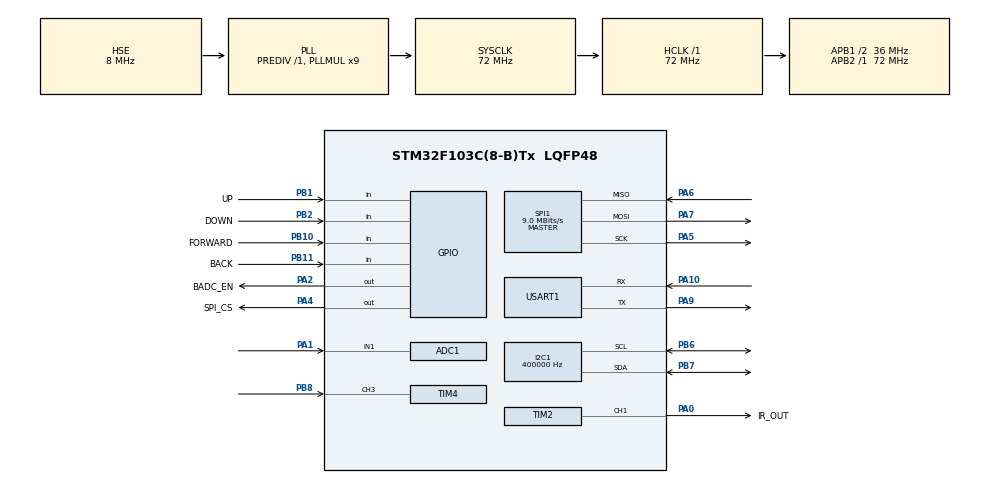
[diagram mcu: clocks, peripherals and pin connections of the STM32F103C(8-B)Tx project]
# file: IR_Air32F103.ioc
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ADC1.Channel-0\#ChannelRegularConversion=ADC_CHANNEL_1
ADC1.NbrOfConversionFlag=1
ADC1.Rank-0\#ChannelRegularConversion=1
ADC1.SamplingTime-0\#ChannelRegularConversion=ADC_SAMPLETIME_1CYCLE_5
ADC1.master=1
I2C1.ClockSpeed=400000
I2C1.I2C_Mode=I2C_Fast
Mcu.Family=STM32F1
Mcu.Name=STM32F103C(8-B)Tx
Mcu.Package=LQFP48
NVIC.PriorityGroup=NVIC_PRIORITYGROUP_4
NVIC.TIM3_IRQn=true\:0\:0\:false\:false\:true\:true\:true\:true
NVIC.TIM4_IRQn=true\:0\:0\:false\:true\:true\:1\:true\:true\:true
PA0-WKUP.GPIO_Label=IR_OUT
PA0-WKUP.GPIO_Speed=GPIO_SPEED_FREQ_HIGH
PA0-WKUP.Signal=S_TIM2_CH1_ETR
PA1.Signal=ADCx_IN1
PA10.Mode=Asynchronous
PA10.Signal=USART1_RX
PA13.Mode=Serial_Wire
PA13.Signal=SYS_JTMS-SWDIO
PA14.Mode=Serial_Wire
PA14.Signal=SYS_JTCK-SWCLK
PA2.GPIO_Label=BADC_EN
PA2.GPIO_PuPd=GPIO_PULLDOWN
PA2.Signal=GPIO_Output
PA4.GPIO_Label=SPI_CS
PA4.GPIO_PuPd=GPIO_PULLUP
PA4.GPIO_Speed=GPIO_SPEED_FREQ_MEDIUM
PA4.Signal=GPIO_Output
PA5.Mode=Full_Duplex_Master
PA5.Signal=SPI1_SCK
PA6.Mode=Full_Duplex_Master
PA6.Signal=SPI1_MISO
PA7.Mode=Full_Duplex_Master
PA7.Signal=SPI1_MOSI
PA9.Mode=Asynchronous
PA9.Signal=USART1_TX
PB1.GPIO_Label=UP
PB1.GPIO_PuPd=GPIO_PULLDOWN
PB1.Signal=GPIO_Input
PB10.GPIO_Label=FORWARD
PB10.GPIO_PuPd=GPIO_PULLDOWN
PB10.Signal=GPIO_Input
PB11.GPIO_Label=BACK
PB11.GPIO_PuPd=GPIO_PULLDOWN
PB11.Signal=GPIO_Input
PB2.GPIO_Label=DOWN
PB2.GPIO_PuPd=GPIO_PULLDOWN
PB2.Signal=GPIO_Input
PB6.Mode=I2C
PB6.Signal=I2C1_SCL
PB7.Mode=I2C
PB7.Signal=I2C1_SDA
PB8.GPIO_PuPd=GPIO_PULLUP
PB8.Signal=S_TIM4_CH3
PD0-OSC_IN.Mode=HSE-External-Oscillator
PD0-OSC_IN.Signal=RCC_OSC_IN
PD1-OSC_OUT.Mode=HSE-External-Oscillator
PD1-OSC_OUT.Signal=RCC_OSC_OUT
ProjectManager.HeapSize=0x200
ProjectManager.StackSize=0x1400
ProjectManager.TargetToolchain=MDK-ARM V5.32
RCC.ADCPresc=RCC_ADCPCLK2_DIV6
RCC.AHBFreq_Value=72000000
RCC.APB1CLKDivider=RCC_HCLK_DIV2
RCC.APB1Freq_Value=36000000
RCC.APB1TimFreq_Value=72000000
RCC.APB2Freq_Value=72000000
RCC.APB2TimFreq_Value=72000000
RCC.HCLKFreq_Value=72000000
RCC.PLLMUL=RCC_PLL_MUL9
RCC.PLLSourceVirtual=RCC_PLLSOURCE_HSE
RCC.SYSCLKFreq_VALUE=72000000
RCC.SYSCLKSource=RCC_SYSCLKSOURCE_PLLCLK
RCC.USBFreq_Value=48000000
RCC.USBPrescaler=RCC_USBCLKSOURCE_PLL_DIV1_5
SH.ADCx_IN1.0=ADC1_IN1,IN1
SH.S_TIM2_CH1_ETR.0=TIM2_CH1,PWM Generation1 CH1
SH.S_TIM4_CH3.0=TIM4_CH3,Input_Capture3_from_TI3
SPI1.BaudRatePrescaler=SPI_BAUDRATEPRESCALER_8
SPI1.CalculateBaudRate=9.0 MBits/s
SPI1.Direction=SPI_DIRECTION_2LINES
SPI1.Mode=SPI_MODE_MASTER
SPI1.VirtualType=VM_MASTER
TIM1.Prescaler=72-1
TIM2.AutoReloadPreload=TIM_AUTORELOAD_PRELOAD_ENABLE
TIM2.Channel-PWM\ Generation1\ CH1=TIM_CHANNEL_1
TIM2.Period=10-1
TIM2.Prescaler=186-1
TIM2.Pulse-PWM\ Generation1\ CH1=5-1
TIM3.Period=10
TIM3.Prescaler=7200-1
TIM4.AutoReloadPreload=TIM_AUTORELOAD_PRELOAD_DISABLE
TIM4.Channel-Input_Capture3_from_TI3=TIM_CHANNEL_3
TIM4.ICPolarity_CH3=TIM_INPUTCHANNELPOLARITY_RISING
TIM4.Prescaler=72-1
USART1.VirtualMode=VM_ASYNC
VP_FATFS_VS_Generic.Mode=User_defined
VP_TIM1_VS_ClockSourceINT.Mode=Internal
VP_TIM2_VS_ClockSourceINT.Mode=Internal
VP_TIM3_VS_ClockSourceINT.Mode=Internal
VP_TIM4_VS_ClockSourceINT.Mode=Internal
board=custom

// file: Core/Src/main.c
/* USER CODE BEGIN Header */
/**
 ******************************************************************************
 * @file           : main.c
 * @brief          : Main program body
 ******************************************************************************
 * @attention
 *
 * Copyright (c) 2023 STMicroelectronics.
 * All rights reserved.
 *
 * This software is licensed under terms that can be found in the LICENSE file
 * in the root directory of this software component.
 * If no LICENSE file comes with this software, it is provided AS-IS.
 *
 ******************************************************************************
 */
/* USER CODE END Header */
#include "main.h"
#include "adc.h"
#include "fatfs.h"
#include "i2c.h"
#include "spi.h"
#include "tim.h"
#include "usart.h"
#include "gpio.h"

/* USER CODE BEGIN Includes */
#include "IRRemote.h"
#include "u8g2.h"
#include "stdio.h"
#include "string.h"
#include "menu.h"
#include "SDdriver.h"
#include "IRSend.h"
#include <stdlib.h>
#include "ff.h" // 包含FATFS库头文件
/* USER CODE END Includes */

void SystemClock_Config(void);
static void MX_NVIC_Init(void);
/* USER CODE BEGIN PFP */

uint8_t u8x8_byte_hw_i2c(u8x8_t *u8x8, uint8_t msg, uint8_t arg_int, void *arg_ptr);
uint8_t u8g2_gpio_and_delay_stm32(U8X8_UNUSED u8x8_t *u8x8, U8X8_UNUSED uint8_t msg, U8X8_UNUSED uint8_t arg_int, U8X8_UNUSED void *arg_ptr);

u8g2_t u8g2;

volatile uint8_t KeyState[4];

void ShowStartScreen(void);
void ScanKeyboard(void);

void ResetState(void);
void ResetKeyboard(void);
// uint8_t test_sd =0;	//用于测试格式�?
uint8_t write_cnt = 0; // 写SD卡次�?

static uint8_t ArrowFlag = 0; // 用于指示选项
static uint8_t PageFlag = 0;  // 用来指示是第几页（一页4个选项）
/* USER CODE END PFP */

/* USER CODE BEGIN 0 */
ReceiveMode_t ReceiveMode;
FATFS fs;
FIL file;
uint8_t SDCardRes = 0;
UINT Bw;
/* USER CODE END 0 */

int main(void)
{

    /* MCU Configuration--------------------------------------------------------*/

    /* Reset of all peripherals, Initializes the Flash interface and the Systick. */
    HAL_Init();

    /* Configure the system clock */
    SystemClock_Config();

    /* Initialize all configured peripherals */
    MX_GPIO_Init();
    MX_TIM4_Init();
    MX_I2C1_Init();
    MX_SPI1_Init();
    MX_TIM2_Init();
    MX_ADC1_Init();
    MX_USART1_UART_Init();
    MX_TIM3_Init();
    MX_TIM1_Init();
    MX_FATFS_Init();

    /* Initialize interrupts */
    MX_NVIC_Init();
    /* USER CODE BEGIN 2 */
    myPrintf("Start\r\n");
    HAL_TIM_Base_Start_IT(&htim3);
    u8g2_Setup_ssd1306_i2c_128x64_noname_f(&u8g2, U8G2_R0, u8x8_byte_hw_i2c, u8g2_gpio_and_delay_stm32);
    u8g2_InitDisplay(&u8g2);     // send init sequence to the display, display is in sleep mode after this,
    u8g2_SetPowerSave(&u8g2, 0); // wake up display
    ShowStartScreen();
    HAL_Delay(1000);

    Get_SDCard_Capacity();
    OpenSD();
    // MenuBasic();
    //  IRInit();
    /* USER CODE END 2 */

    /* Infinite loop */
    while (1)
    {

        /* USER CODE BEGIN 3 */
        static uint32_t RunTime = 0;
        switch (MenuMode)
        {
        case MENU_BASIC:
            MenuBasic();
            MenuMode = MENU_BASIC_SELECT;
            break;

        case MENU_BASIC_SELECT:

            if (KeyState[1] == 1) // 按下�??
            {
                KeyState[1] = 0;

                u8g2_SetFont(&u8g2, u8g2_font_unifont_t_symbols);
                if (ArrowFlag >= 3)
                {
                    ArrowFlag = 0;
                    u8g2_DrawGlyph(&u8g2, 0, 25 + 12 * ArrowFlag, 9654);
                    u8g2_SetDrawColor(&u8g2, 0);
                    u8g2_DrawBox(&u8g2, 0, 12 + 12 * 3, 16, 16);
                    u8g2_SetDrawColor(&u8g2, 1);
                }
                else
                {
                    ArrowFlag++;
                    u8g2_DrawGlyph(&u8g2, 0, 25 + 12 * ArrowFlag, 9654);
                    u8g2_SetDrawColor(&u8g2, 0);
                    u8g2_DrawBox(&u8g2, 0, 12 + 12 * (ArrowFlag - 1), 16, 16);
                    u8g2_SetDrawColor(&u8g2, 1);
                }
                myPrintf("ArrowFlag = %d\r\n", ArrowFlag);
            }
            else if (KeyState[0] == 1) // 按上�??
            {
                KeyState[0] = 0;

                u8g2_SetFont(&u8g2, u8g2_font_unifont_t_symbols);
                if (ArrowFlag <= 0)
                {
                    // ArrowFlag = 3;
                    ArrowFlag = 0;
                    u8g2_DrawGlyph(&u8g2, 0, 25 + 12 * ArrowFlag, 9654);
                    u8g2_SetDrawColor(&u8g2, 0);
                    u8g2_DrawBox(&u8g2, 0, 12, 16, 16);
                    u8g2_SetDrawColor(&u8g2, 1);
                }
                else
                {
                    ArrowFlag--;
                    u8g2_DrawGlyph(&u8g2, 0, 25 + 12 * ArrowFlag, 9654);
                    u8g2_SetDrawColor(&u8g2, 0);
                    u8g2_DrawBox(&u8g2, 0, 12 + 12 * (ArrowFlag + 1), 16, 16);
                    u8g2_SetDrawColor(&u8g2, 1);
                }
                myPrintf("ArrowFlag = %d\r\n", ArrowFlag);
            }
            else if (KeyState[2] == 1) // 确认
            {
                KeyState[2] = 0;
                switch (ArrowFlag)
                {
                case 0:

                    ArrowFlag = 0;
                    RunTime = HAL_GetTick();
                    MenuNECLearn();
                    ResetState();
                    MenuMode = MENU_NEC_LEARN;
                    break;
                case 1:

                    IRState = IR_STATE_UNIVERSAL_RECEIVE;
                    ArrowFlag = 0;
                    RunTime = HAL_GetTick();
                    MenuUniversalLearn();
                    ResetState();
                    MenuMode = MENU_UNIVERSAL_LEARN;
                    break;
                case 2:

                    ArrowFlag = 0;
                    MenuSend();
                    ResetState();
                    MenuMode = MENU_SEND;
                    break;
                case 3:

                    ArrowFlag = 0;
                    MenuRecordView();
                    ResetState();
                    MenuMode = MENU_Record_View;
                    break;
                default:
                    break;
                }
            }

            u8g2_SendBuffer(&u8g2);

            break;

        case MENU_NEC_LEARN:
            IRInit();
            while (IRState != IR_STATE_FINISH)
            {
                HAL_Delay(10);
                if (KeyState[3] == 1) // 取消
                {
                    KeyState[3] = 0;
                    IRDeInit();
                    ResetState();
                    goto MENU_NEC_LEARN_END;
                }
                if (HAL_GetTick() - RunTime > 5 * 1000) // 5s学习时间，超时退出
                {
                    myPrintf("Time out, tick is %d, runtime is %d\r\n", HAL_GetTick(), RunTime);
                    IRDeInit();
                    ResetState();
                    goto MENU_NEC_LEARN_END;
                }
            }
            IRState = IR_STATE_IDLE;
            u8g2_SetFont(&u8g2, u8g2_font_wqy12_t_chinese3);
            u8g2_DrawUTF8(&u8g2, (128 - 6 * 4) / 2, 32, "PASS");
            char temp[32];
            sprintf(temp, "0x%02X 0x%02X 0x%02X 0x%02X", NECRemoteData[0], NECRemoteData[1], NECRemoteData[2], NECRemoteData[3]);
            u8g2_DrawUTF8(&u8g2, (128 - 6 * 20), 48, temp);
            u8g2_SendBuffer(&u8g2);

            while (KeyState[2] != 1 && KeyState[3] != 1)
            {
                ;
            }
            myPrintf("Key is pressed\r\n");
            if (KeyState[2] == 1) // 确认
            {
                KeyState[2] = 0;
                MenuMode = MENU_SAVE_NEC;
                ArrowFlag = 0;
                MenuSaveNEC(0);
            }
            else if (KeyState[3] == 1) // 取消
            {
                KeyState[3] = 0;
                MenuMode = MENU_BASIC;
                ArrowFlag = 0;
            }
        MENU_NEC_LEARN_END:
            break;

        case MENU_UNIVERSAL_LEARN:
            IRState = IR_STATE_UNIVERSAL_IDLE;
            IRInit();

            while (IRState != IR_STATE_FINISH)
            {
                HAL_Delay(10);
                if (KeyState[3] == 1) // 取消
                {
                    KeyState[3] = 0;
                    IRDeInit();
                    ResetState();
                    goto MENU_NEC_LEARN_END;
                }
                if (HAL_GetTick() - RunTime > 5 * 1000) // 5s学习时间，超时退出
                {
                    IRDeInit();
                    ResetState();
                    goto MENU_UNIVERSAL_LEARN_END;
                }
            }
            IRState = IR_STATE_IDLE;
            u8g2_SetFont(&u8g2, u8g2_font_wqy12_t_chinese3);
            u8g2_DrawUTF8(&u8g2, (128 - 6 * 4) / 2, 32, "PASS");
            u8g2_SendBuffer(&u8g2);

            while (KeyState[2] != 1 && KeyState[3] != 1)
            {
                ;
            }
            myPrintf("Key is pressed\r\n");
            if (KeyState[2] == 1) // 确认
            {
                KeyState[2] = 0;
                ArrowFlag = 0;
                MenuMode = MENU_SAVE_UNIVERSAL;
                ArrowFlag = 0;
                MenuSaveNEC(0);
            }
            else if (KeyState[3] == 1) // 取消
            {
                KeyState[3] = 0;
                ArrowFlag = 0;
                MenuMode = MENU_BASIC;
                ArrowFlag = 0;
            }
        MENU_UNIVERSAL_LEARN_END:
            break;

        case MENU_SAVE_NEC:
            // if (KeyState[1] == 1) // 按下�??
            // {
            //     KeyState[1] = 0;

            //     u8g2_SetFont(&u8g2, u8g2_font_unifont_t_symbols);
            //     if (ArrowFlag >= 3)
            //     {
            //         PageFlag++;
            //         ArrowFlag = 0;
            //         u8g2_DrawGlyph(&u8g2, 0, 25 + 12 * ArrowFlag, 9654);
            //         u8g2_SetDrawColor(&u8g2, 0);
            //         u8g2_DrawBox(&u8g2, 0, 12 + 12 * 3, 16, 16);
            //         u8g2_SetDrawColor(&u8g2, 1);
            //         MenuSaveNEC(PageFlag);
            //     }
            //     else
            //     {
            //         ArrowFlag++;
            //         u8g2_DrawGlyph(&u8g2, 0, 25 + 12 * ArrowFlag, 9654);
            //         u8g2_SetDrawColor(&u8g2, 0);
            //         u8g2_DrawBox(&u8g2, 0, 12 + 12 * (ArrowFlag - 1), 16, 16);
            //         u8g2_SetDrawColor(&u8g2, 1);
            //     }
            //     myPrintf("ArrowFlag = %d\r\n", ArrowFlag);
            // }
            // else if (KeyState[0] == 1) // 按上�??
            // {
            //     KeyState[0] = 0;

            //     u8g2_SetFont(&u8g2, u8g2_font_unifont_t_symbols);
            //     if (ArrowFlag <= 0)
            //     {
            //         ArrowFlag = 3;
            //         if (PageFlag > 0)
            //         {
            //             PageFlag--;
            //         }
            //         u8g2_DrawGlyph(&u8g2, 0, 25 + 12 * ArrowFlag, 9654);
            //         u8g2_SetDrawColor(&u8g2, 0);
            //         u8g2_DrawBox(&u8g2, 0, 12, 16, 16);
            //         u8g2_SetDrawColor(&u8g2, 1);
            //         MenuSaveNEC(PageFlag);
            //     }
            //     else
            //     {
            //         ArrowFlag--;
            //         u8g2_DrawGlyph(&u8g2, 0, 25 + 12 * ArrowFlag, 9654);
            //         u8g2_SetDrawColor(&u8g2, 0);
            //         u8g2_DrawBox(&u8g2, 0, 12 + 12 * (ArrowFlag + 1), 16, 16);
            //         u8g2_SetDrawColor(&u8g2, 1);
            //     }
            //     myPrintf("ArrowFlag = %d\r\n", ArrowFlag);
            // }
            // else if (KeyState[2] == 1) // 确认
            // {
            //     KeyState[2] = 0;
            //     FIL file;
            //     int res;
            //     u8g2_ClearDisplay(&u8g2);
            //     u8g2_SetFont(&u8g2, IR_Air32_font_12);
            //     u8g2_DrawUTF8(&u8g2, (128 - 12 * 8) / 2, 12, "正在保存中......");
            //     u8g2_DrawUTF8(&u8g2, (128 - 12 * 5) / 2, 25, "请耐心等待");
            //     u8g2_SendBuffer(&u8g2);

            //     while (1)
            //     {

            //         char fileNameTemp[6];
            //         genRandomString(fileNameTemp, 6);
            //         char fileName[32];
            //         sprintf(fileName, "%s.IR", fileNameTemp); // 文件名
            //         myPrintf("Save file name is %s\r\n", fileName);
            //         res = f_open(&file, fileName, FA_READ);
            //         if (res == FR_OK)
            //         {
            //             f_close(&file); // 如果文件已存在，则重新生成文件名
            //             continue;
            //         }

            //         res = f_open(&file, fileName, FA_WRITE | FA_CREATE_ALWAYS);
            //         if (res != FR_OK)
            //         {
            //             myPrintf("f_open error\r\n");
            //             break;
            //         }
            //         break;
            //     }
            //     char temp[32];
            //     sprintf(temp, "NEC\r\n0x%02X 0x%02X 0x%02X 0x%02X\r\n", NECRemoteData[0], NECRemoteData[1], NECRemoteData[2], NECRemoteData[3]);
            //     res = f_write(&file, temp, strlen(temp), &Bw);
            //     if (res != FR_OK)
            //     {
            //         myPrintf("f_write error\r\n");
            //     }
            //     f_close(&file);

            //     u8g2_ClearDisplay(&u8g2);
            //     u8g2_SetFont(&u8g2, IR_Air32_font_12);
            //     u8g2_DrawUTF8(&u8g2, (128 - 12 * 4) / 2, 12, "保存成功");
            //     u8g2_SendBuffer(&u8g2);
            //     HAL_Delay(1000);
            //     ResetState();
            //     MenuMode = MENU_NEC_LEARN;
            //     MenuNECLearn();
            //     RunTime = HAL_GetTick();
            // }
            // else if (KeyState[3] == 1) // 取消
            // {
            //     // KeyState[3] = 0;
            //     // MenuMode = MENU_BASIC;
            //     // ArrowFlag = 0;
            //     // PageFlag = 0;
            //     ResetState();
            // }
            {
                FIL file;
                int res;
                u8g2_ClearDisplay(&u8g2);
                u8g2_SetFont(&u8g2, IR_Air32_font_12);
                u8g2_DrawUTF8(&u8g2, (128 - 12 * 8) / 2, 12, "正在保存中......");
                u8g2_DrawUTF8(&u8g2, (128 - 12 * 5) / 2, 25, "请耐心等待");
                u8g2_SendBuffer(&u8g2);

                while (1)
                {

                    char fileNameTemp[6];
                    genRandomString(fileNameTemp, 6);
                    char fileName[32];
                    sprintf(fileName, "%s.IR", fileNameTemp); // 文件名
                    myPrintf("Save file name is %s\r\n", fileName);
                    res = f_open(&file, fileName, FA_READ);
                    if (res == FR_OK)
                    {
                        f_close(&file); // 如果文件已存在，则重新生成文件名
                        continue;
                    }

                    u8g2_SetFont(&u8g2, u8g2_font_wqy12_t_chinese3);
                    char temp[32];
                    // sprintf(temp, "%s", fileName);
                    u8g2_DrawUTF8(&u8g2, (128 - 6 * 8) / 2, 36, fileName);
                    u8g2_SendBuffer(&u8g2);
                    HAL_Delay(500);

                    res = f_open(&file, fileName, FA_WRITE | FA_CREATE_ALWAYS);
                    if (res != FR_OK)
                    {
                        myPrintf("f_open error\r\n");
                        break;
                    }
                    break;
                }
                // char temp[32];
                sprintf(temp, "NEC\r\n0x%02X 0x%02X 0x%02X 0x%02X\r\n", NECRemoteData[0], NECRemoteData[1], NECRemoteData[2], NECRemoteData[3]);
                res = f_write(&file, temp, strlen(temp), &Bw);
                if (res != FR_OK)
                {
                    myPrintf("f_write error\r\n");
                }
                f_close(&file);

                u8g2_ClearDisplay(&u8g2);
                u8g2_SetFont(&u8g2, IR_Air32_font_12);
                u8g2_DrawUTF8(&u8g2, (128 - 12 * 4) / 2, 12, "保存成功");
                u8g2_SendBuffer(&u8g2);
                HAL_Delay(1000);
                ResetState();
                MenuMode = MENU_NEC_LEARN;
                MenuNECLearn();
                RunTime = HAL_GetTick();

                u8g2_SendBuffer(&u8g2);
            }
            break;

        case MENU_SAVE_UNIVERSAL:
            // if (KeyState[1] == 1) // 按下�??
            // {
            //     KeyState[1] = 0;

            //     u8g2_SetFont(&u8g2, u8g2_font_unifont_t_symbols);
            //     if (ArrowFlag >= 3)
            //     {
            //         PageFlag++;
            //         ArrowFlag = 0;
            //         u8g2_DrawGlyph(&u8g2, 0, 25 + 12 * ArrowFlag, 9654);
            //         u8g2_SetDrawColor(&u8g2, 0);
            //         u8g2_DrawBox(&u8g2, 0, 12 + 12 * 3, 16, 16);
            //         u8g2_SetDrawColor(&u8g2, 1);
            //         MenuSaveNEC(PageFlag);
            //     }
            //     else
            //     {
            //         ArrowFlag++;
            //         u8g2_DrawGlyph(&u8g2, 0, 25 + 12 * ArrowFlag, 9654);
            //         u8g2_SetDrawColor(&u8g2, 0);
            //         u8g2_DrawBox(&u8g2, 0, 12 + 12 * (ArrowFlag - 1), 16, 16);
            //         u8g2_SetDrawColor(&u8g2, 1);
            //     }
            //     myPrintf("ArrowFlag = %d\r\n", ArrowFlag);
            // }
            // else if (KeyState[0] == 1) // 按上�??
            // {
            //     KeyState[0] = 0;

            //     u8g2_SetFont(&u8g2, u8g2_font_unifont_t_symbols);
            //     if (ArrowFlag <= 0)
            //     {
            //         ArrowFlag = 3;
            //         if (PageFlag > 0)
            //         {
            //             PageFlag--;
            //         }
            //         u8g2_DrawGlyph(&u8g2, 0, 25 + 12 * ArrowFlag, 9654);
            //         u8g2_SetDrawColor(&u8g2, 0);
            //         u8g2_DrawBox(&u8g2, 0, 12, 16, 16);
            //         u8g2_SetDrawColor(&u8g2, 1);
            //         MenuSaveNEC(PageFlag);
            //     }
            //     else
            //     {
            //         ArrowFlag--;
            //         u8g2_DrawGlyph(&u8g2, 0, 25 + 12 * ArrowFlag, 9654);
            //         u8g2_SetDrawColor(&u8g2, 0);
            //         u8g2_DrawBox(&u8g2, 0, 12 + 12 * (ArrowFlag + 1), 16, 16);
            //         u8g2_SetDrawColor(&u8g2, 1);
            //     }
            //     myPrintf("ArrowFlag = %d\r\n", ArrowFlag);
            // }
            // else if (KeyState[2] == 1) // 确认
            // {
            //     KeyState[2] = 0;
            //     FIL file;
            //     int res;
            //     u8g2_ClearDisplay(&u8g2);
            //     u8g2_SetFont(&u8g2, IR_Air32_font_12);
            //     u8g2_DrawUTF8(&u8g2, (128 - 12 * 8) / 2, 12, "正在保存中......");
            //     u8g2_DrawUTF8(&u8g2, (128 - 12 * 5) / 2, 25, "请耐心等待");
            //     u8g2_SendBuffer(&u8g2);

            //     while (1)
            //     {
            //         char fileNameTemp[6];
            //         genRandomString(fileNameTemp, 6);
            //         char fileName[32];
            //         sprintf(fileName, "%s.IR", fileNameTemp); // 文件名
            //         myPrintf("Save file name is %s\r\n", fileName);
            //         res = f_open(&file, fileName, FA_READ);
            //         if (res == FR_OK)
            //         {
            //             f_close(&file); // 如果文件已存在，则重新生成文件名
            //             continue;
            //         }

            //         res = f_open(&file, fileName, FA_WRITE | FA_CREATE_ALWAYS);
            //         if (res != FR_OK)
            //         {
            //             myPrintf("f_open error\r\n");
            //             break;
            //         }
            //         break;
            //     }

            //     char temp[32];
            //     sprintf(temp, "UNIVERSAL\r\n");
            //     res = f_write(&file, temp, strlen(temp), &Bw);
            //     if (res != FR_OK)
            //     {
            //         myPrintf("f_write error\r\n");
            //     }
            //     myPrintf("IRRemoteData.size = %d\r\n", IRRemoteData.size);
            //     sprintf(temp, "%d ", IRRemoteData.size);
            //     res = f_write(&file, temp, strlen(temp), &Bw);
            //     if (res != FR_OK)
            //     {
            //         myPrintf("f_write error\r\n");
            //     }
            //     for (size_t i = 0; i < IRRemoteData.size; i++)
            //     {
            //         sprintf(temp, "%d ", IRRemoteData.data[i]);
            //         res = f_write(&file, temp, strlen(temp), &Bw);
            //         if (res != FR_OK)
            //         {
            //             myPrintf("f_write error\r\n");
            //         }
            //     }
            //     f_close(&file);

            //     u8g2_ClearDisplay(&u8g2);
            //     u8g2_SetFont(&u8g2, IR_Air32_font_12);
            //     u8g2_DrawUTF8(&u8g2, (128 - 12 * 4) / 2, 12, "保存成功");
            //     u8g2_SendBuffer(&u8g2);
            //     HAL_Delay(1000);
            //     ResetState();
            //     MenuMode = MENU_UNIVERSAL_LEARN;
            //     MenuUniversalLearn();
            //     RunTime = HAL_GetTick();
            // }
            // else if (KeyState[3] == 1) // 取消
            // {
            //     // KeyState[3] = 0;
            //     // MenuMode = MENU_BASIC;
            //     // ArrowFlag = 0;
            //     // PageFlag = 0;
            //     ResetState();
            // }

            // u8g2_SendBuffer(&u8g2);
            {
                FIL file;
                int res;
                u8g2_ClearDisplay(&u8g2);
                u8g2_SetFont(&u8g2, IR_Air32_font_12);
                u8g2_DrawUTF8(&u8g2, (128 - 12 * 8) / 2, 12, "正在保存中......");
                u8g2_DrawUTF8(&u8g2, (128 - 12 * 5) / 2, 25, "请耐心等待");
                u8g2_SendBuffer(&u8g2);

                while (1)
                {

                    char fileNameTemp[6];
                    genRandomString(fileNameTemp, 6);
                    char fileName[32];
                    sprintf(fileName, "%s.IR", fileNameTemp); // 文件名
                    myPrintf("Save file name is %s\r\n", fileName);
                    res = f_open(&file, fileName, FA_READ);
                    if (res == FR_OK)
                    {
                        f_close(&file); // 如果文件已存在，则重新生成文件名
                        continue;
                    }

                    u8g2_SetFont(&u8g2, u8g2_font_wqy12_t_chinese3);
                    char temp[32];
                    // sprintf(temp, "%s", fileName);
                    u8g2_DrawUTF8(&u8g2, (128 - 6 * 8) / 2, 36, fileName);
                    u8g2_SendBuffer(&u8g2);
                    HAL_Delay(500);

                    res = f_open(&file, fileName, FA_WRITE | FA_CREATE_ALWAYS);
                    if (res != FR_OK)
                    {
                        myPrintf("f_open error\r\n");
                        break;
                    }
                    break;
                }
                // char temp[32];
                sprintf(temp, "UNIVERSAL\r\n");
                res = f_write(&file, temp, strlen(temp), &Bw);
                if (res != FR_OK)
                {
                    myPrintf("f_write error\r\n");
                }
                myPrintf("IRRemoteData.size = %d\r\n", IRRemoteData.size);
                sprintf(temp, "%d ", IRRemoteData.size);
                res = f_write(&file, temp, strlen(temp), &Bw);
                if (res != FR_OK)
                {
                    myPrintf("f_write error\r\n");
                }
                for (size_t i = 0; i < IRRemoteData.size; i++)
                {
                    sprintf(temp, "%d ", IRRemoteData.data[i]);
                    res = f_write(&file, temp, strlen(temp), &Bw);
                    if (res != FR_OK)
                    {
                        myPrintf("f_write error\r\n");
                    }
                }
                f_close(&file);

                u8g2_ClearDisplay(&u8g2);
                u8g2_SetFont(&u8g2, IR_Air32_font_12);
                u8g2_DrawUTF8(&u8g2, (128 - 12 * 4) / 2, 12, "保存成功");
                u8g2_SendBuffer(&u8g2);
                HAL_Delay(1000);
                ResetState();
                MenuMode = MENU_UNIVERSAL_LEARN;
                MenuUniversalLearn();
                RunTime = HAL_GetTick();
            }
            break;

        case MENU_SEND:
            if (KeyState[1] == 1) // 按下�??
            {
                KeyState[1] = 0;

                u8g2_SetFont(&u8g2, u8g2_font_unifont_t_symbols);
                if (ArrowFlag >= 1)
                {
                    ArrowFlag = 0;
                    u8g2_DrawGlyph(&u8g2, 0, 25 + 12 * ArrowFlag, 9654);
                    u8g2_SetDrawColor(&u8g2, 0);
                    u8g2_DrawBox(&u8g2, 0, 12 + 12 * 3, 16, 16);
                    u8g2_SetDrawColor(&u8g2, 1);
                }
                else
                {
                    ArrowFlag++;
                    u8g2_DrawGlyph(&u8g2, 0, 25 + 12 * ArrowFlag, 9654);
                    u8g2_SetDrawColor(&u8g2, 0);
                    u8g2_DrawBox(&u8g2, 0, 12 + 12 * (ArrowFlag - 1), 16, 16);
                    u8g2_SetDrawColor(&u8g2, 1);
                }
                myPrintf("ArrowFlag = %d\r\n", ArrowFlag);
            }
            else if (KeyState[0] == 1) // 按上�??
            {
                KeyState[0] = 0;

                u8g2_SetFont(&u8g2, u8g2_font_unifont_t_symbols);
                if (ArrowFlag <= 0)
                {
                    // ArrowFlag = 3;
                    ArrowFlag = 0;
                    u8g2_DrawGlyph(&u8g2, 0, 25 + 12 * ArrowFlag, 9654);
                    u8g2_SetDrawColor(&u8g2, 0);
                    u8g2_DrawBox(&u8g2, 0, 12, 16, 16);
                    u8g2_SetDrawColor(&u8g2, 1);
                }
                else
                {
                    ArrowFlag--;
                    u8g2_DrawGlyph(&u8g2, 0, 25 + 12 * ArrowFlag, 9654);
                    u8g2_SetDrawColor(&u8g2, 0);
                    u8g2_DrawBox(&u8g2, 0, 12 + 12 * (ArrowFlag + 1), 16, 16);
                    u8g2_SetDrawColor(&u8g2, 1);
                }
                myPrintf("ArrowFlag = %d\r\n", ArrowFlag);
            }
            else if (KeyState[2] == 1) // 确认
            {
                if (ArrowFlag == 0)
                {
                    ResetState();
                    MenuMode = MENU_SEND_SINGULAR;
                    MenuSendSingular(0);
                }
                else if (ArrowFlag == 1)
                {
                    ResetState();
                    MenuMode = MENU_SEND_PLURAL;
                    MenuSendPlural(0);
                }
            }
            else if (KeyState[3] == 1) // 取消
            {
                // KeyState[3] = 0;
                // MenuMode = MENU_BASIC;
                // ArrowFlag = 0;
                ResetState();
            }

            u8g2_SendBuffer(&u8g2);
            break;

        case MENU_SEND_SINGULAR:
            if (KeyState[1] == 1) // 按下�??
            {
                KeyState[1] = 0;

                u8g2_SetFont(&u8g2, u8g2_font_unifont_t_symbols);
                if (ArrowFlag >= 3)
                {
                    PageFlag++;
                    ArrowFlag = 0;
                    u8g2_DrawGlyph(&u8g2, 0, 25 + 12 * ArrowFlag, 9654);
                    u8g2_SetDrawColor(&u8g2, 0);
                    u8g2_DrawBox(&u8g2, 0, 12 + 12 * 3, 16, 16);
                    u8g2_SetDrawColor(&u8g2, 1);
                    MenuSendSingular(PageFlag);
                }
                else
                {
                    ArrowFlag++;
                    u8g2_DrawGlyph(&u8g2, 0, 25 + 12 * ArrowFlag, 9654);
                    u8g2_SetDrawColor(&u8g2, 0);
                    u8g2_DrawBox(&u8g2, 0, 12 + 12 * (ArrowFlag - 1), 16, 16);
                    u8g2_SetDrawColor(&u8g2, 1);
                }
                myPrintf("ArrowFlag = %d\r\n", ArrowFlag);
            }
            else if (KeyState[0] == 1) // 按上�??
            {
                KeyState[0] = 0;

                u8g2_SetFont(&u8g2, u8g2_font_unifont_t_symbols);
                if (ArrowFlag <= 0)
                {
                    // ArrowFlag = 3;
                    ArrowFlag = 0;
                    if (PageFlag > 0)
                    {
                        PageFlag--;
                    }
                    u8g2_DrawGlyph(&u8g2, 0, 25 + 12 * ArrowFlag, 9654);
                    u8g2_SetDrawColor(&u8g2, 0);
                    u8g2_DrawBox(&u8g2, 0, 12, 16, 16);
                    u8g2_SetDrawColor(&u8g2, 1);
                    MenuSendSingular(PageFlag);
                }
                else
                {
                    ArrowFlag--;
                    u8g2_DrawGlyph(&u8g2, 0, 25 + 12 * ArrowFlag, 9654);
                    u8g2_SetDrawColor(&u8g2, 0);
                    u8g2_DrawBox(&u8g2, 0, 12 + 12 * (ArrowFlag + 1), 16, 16);
                    u8g2_SetDrawColor(&u8g2, 1);
                }
                myPrintf("ArrowFlag = %d\r\n", ArrowFlag);
            }
            else if (KeyState[2] == 1) // 确认
            {
                KeyState[2] = 0;
                FIL file;
                int res;

                char filename[32];
                sprintf(filename, "%s", SD_FileName.data[PageFlag * 4 + ArrowFlag]);
                // sprintf(filename, "%d.IR", PageFlag * 4 + ArrowFlag);

                myPrintf("filename = %s\r\n", filename);
                res = f_open(&file, filename, FA_READ);
                if (res != FR_OK)
                {
                    myPrintf("f_open error\r\n");
                    if (res == FR_NO_FILE) // 文件不存在
                    {
                        myPrintf("No File.\r\n");
                        u8g2_ClearDisplay(&u8g2);
                        u8g2_SetFont(&u8g2, IR_Air32_font_12);
                        u8g2_DrawUTF8(&u8g2, (128 - 6 * 14) / 2, 12, "该数据未保存");
                        u8g2_SendBuffer(&u8g2);
                        HAL_Delay(1000);
                        ResetState();
                        MenuSend();
                        MenuMode = MENU_SEND;
                        break;
                    }
                    break;
                }
                char temp[2048];

                res = f_read(&file, temp, sizeof(temp), &Bw);
                if (res != FR_OK)
                {
                    myPrintf("f_write error\r\n");
                }
                if (strncmp(temp, "NEC", 3) == 0)
                {
                    myPrintf("NEC mode\r\n");
                    uint8_t NECCode[4];
                    sscanf(temp, "NEC%*c%*c0x%hhx 0x%hhx 0x%hhx 0x%hhx", &NECCode[0], &NECCode[1], &NECCode[2], &NECCode[3]);
                    myPrintf("NEC: 0x%hhx 0x%hhx 0x%hhx 0x%hhx\r\n", NECCode[0], NECCode[1], NECCode[2], NECCode[3]);
                    SendNEC(NECCode);
                }
                else if (strncmp(temp, "UNIVERSAL", 10) == 0)
                {
                    myPrintf("UNIVERSAL mode\r\n");
                    // 定义一个整数指针，用来指向动态分配的数组
                    uint16_t *a;
                    // 定义一个指针，用来指向分割后的字符串
                    char *token;
                    // 使用strtok函数以空格和换行符为分隔符，分割字符串
                    token = strtok(temp, " \r\n");

                    // 跳过第一个分割后的字符串"UNIVERSAL"
                    token = strtok(NULL, " \r\n");
                    // 跳过第二个分割后的字符串"Size"
                    token = strtok(NULL, " \r\n");
                    // 获取第三个分割后的字符串，即Size的值，并转换为整数
                    int size = atoi(token);
                    // 根据Size的值，动态分配数组的内存空间
                    a = malloc(size * sizeof(uint16_t));
                    // 定义一个变量，用来记录数组的索引
                    int i = 0;
                    // 循环读取剩余的分割后的字符串，并转换为整数，存储在数组中
                    while (token != NULL && i < size)
                    {
                        // 使用sscanf函数或atoi函数将字符串转换为整数
                        // sscanf(token, "%d", &a[i]);
                        a[i] = atoi(token);
                        // 增加数组的索引
                        i++;
                        // 获取下一个分割后的字符串
                        token = strtok(NULL, " \r\n");
                    }
                    // 打印数组中的元素
                    for (int j = 0; j < i; j++)
                    {
                        myPrintf("%d ", a[j]);
                    }
                    SendUniversal(a, size);
                    // 释放数组占用的内存空间
                    free(a);
                }
                else
                {
                    myPrintf("error\r\n");
                }

                f_close(&file);

                u8g2_ClearDisplay(&u8g2);
                u8g2_SetFont(&u8g2, IR_Air32_font_12);
                u8g2_DrawUTF8(&u8g2, (128 - 12 * 4) / 2, 12, "发送成功");
                u8g2_SendBuffer(&u8g2);
                HAL_Delay(500);
                MenuSendSingular(0);
                ResetState();
                MenuMode = MENU_SEND_SINGULAR;
            }
            else if (KeyState[3] == 1) // 取消
            {
                // KeyState[3] = 0;
                // MenuMode = MENU_BASIC;
                // ArrowFlag = 0;
                // PageFlag = 0;
                ResetState();
                MenuSend();
                MenuMode = MENU_SEND;
            }

            u8g2_SendBuffer(&u8g2);
            break;

        case MENU_SEND_PLURAL:
        {                     // 加括号让编译器开心
            DIR dir;          // 目录对象
            FILINFO fileinfo; // 文件信息对象
            int res;
            res = f_opendir(&dir, "/"); // 打开目录
            if (res != FR_OK)
            {
                myPrintf("f_opendir error\r\n");
                break;
            }

            while (1)
            {
                if (KeyState[3] == 1) // 取消
                {
                    // KeyState[3] = 0;
                    // MenuMode = MENU_BASIC;
                    // ArrowFlag = 0;
                    // PageFlag = 0;
                    ResetState();
                    MenuMode = MENU_SEND;
                    break;
                }
                res = f_readdir(&dir, &fileinfo); // 读取目录项
                if (res != FR_OK || fileinfo.fname[0] == 0)
                {
                    myPrintf("All file data has been sent\r\n");
                    HAL_Delay(500);
                    f_closedir(&dir);           // 关闭目录
                    res = f_opendir(&dir, "/"); // 打开目录
                    if (res != FR_OK)
                    {
                        myPrintf("f_opendir error\r\n");
                        break;
                    }
                    // break; // 结束循环
                }
                if (fileinfo.fattrib & AM_DIR)
                { // 如果是子目录忽略不处理
                  // list_files(fileinfo.fname);
                }
                else
                {
                    myPrintf("%s\n", fileinfo.fname); // 如果是文件，则输出文件名

                    FIL file;
                    res = f_open(&file, fileinfo.fname, FA_READ);
                    if (res != FR_OK)
                    {
                        myPrintf("f_open error\r\n");
                        if (res == FR_NO_FILE) // 文件不存在
                        {
                            myPrintf("No File.\r\n");

                            ResetState();
                            MenuMode = MENU_SEND;
                        }
                    }
                    char temp[2048];

                    res = f_read(&file, temp, sizeof(temp), &Bw);
                    if (res != FR_OK)
                    {
                        myPrintf("f_read error\r\n");
                    }
                    if (strncmp(temp, "NEC", 3) == 0)
                    {
                        myPrintf("NEC mode\r\n");
                        uint8_t NECCode[4];
                        sscanf(temp, "NEC%*c%*c0x%hhx 0x%hhx 0x%hhx 0x%hhx", &NECCode[0], &NECCode[1], &NECCode[2], &NECCode[3]);
                        myPrintf("NEC: 0x%hhx 0x%hhx 0x%hhx 0x%hhx\r\n", NECCode[0], NECCode[1], NECCode[2], NECCode[3]);
                        SendNEC(NECCode);
                    }
                    else if (strncmp(temp, "UNIVERSAL", 10) == 0)
                    {
                        myPrintf("UNIVERSAL mode\r\n");
                        // 定义一个整数指针，用来指向动态分配的数组
                        uint16_t *a;
                        // 定义一个指针，用来指向分割后的字符串
                        char *token;
                        // 使用strtok函数以空格和换行符为分隔符，分割字符串
                        token = strtok(temp, " \r\n");

                        // 跳过第一个分割后的字符串"UNIVERSAL"
                        token = strtok(NULL, " \r\n");
                        // 跳过第二个分割后的字符串"Size"
                        token = strtok(NULL, " \r\n");
                        // 获取第三个分割后的字符串，即Size的值，并转换为整数
                        int size = atoi(token);
                        // 根据Size的值，动态分配数组的内存空间
                        a = malloc(size * sizeof(uint16_t));
                        // 定义一个变量，用来记录数组的索引
                        int i = 0;
                        // 循环读取剩余的分割后的字符串，并转换为整数，存储在数组中
                        while (token != NULL && i < size)
                        {
                            // 使用sscanf函数或atoi函数将字符串转换为整数
                            // sscanf(token, "%d", &a[i]);
                            a[i] = atoi(token);
                            // 增加数组的索引
                            i++;
                            // 获取下一个分割后的字符串
                            token = strtok(NULL, " \r\n");
                        }
                        // 打印数组中的元素
                        for (int j = 0; j < i; j++)
                        {
                            myPrintf("%d ", a[j]);
                        }
                        SendUniversal(a, size);
                        // 释放数组占用的内存空间
                        free(a);
                    }

                    f_close(&file);
                }
            }

            f_closedir(&dir); // 关闭目录

            ResetState();
            MenuMode = MENU_SEND_PLURAL;
            break;
        }

        case MENU_Record_View:
            if (KeyState[1] == 1) // 按下�??
            {
                KeyState[1] = 0;

                u8g2_SetFont(&u8g2, u8g2_font_unifont_t_symbols);
                if (ArrowFlag >= 1)
                {
                    ArrowFlag = 0;
                    u8g2_DrawGlyph(&u8g2, 0, 25 + 12 * ArrowFlag, 9654);
                    u8g2_SetDrawColor(&u8g2, 0);
                    u8g2_DrawBox(&u8g2, 0, 12 + 12 * 3, 16, 16);
                    u8g2_SetDrawColor(&u8g2, 1);
                }
                else
                {
                    ArrowFlag++;
                    u8g2_DrawGlyph(&u8g2, 0, 25 + 12 * ArrowFlag, 9654);
                    u8g2_SetDrawColor(&u8g2, 0);
                    u8g2_DrawBox(&u8g2, 0, 12 + 12 * (ArrowFlag - 1), 16, 16);
                    u8g2_SetDrawColor(&u8g2, 1);
                }
                myPrintf("ArrowFlag = %d\r\n", ArrowFlag);
            }
            else if (KeyState[0] == 1) // 按上�??
            {
                KeyState[0] = 0;

                u8g2_SetFont(&u8g2, u8g2_font_unifont_t_symbols);
                if (ArrowFlag <= 0)
                {
                    ArrowFlag = 3;
                    u8g2_DrawGlyph(&u8g2, 0, 25 + 12 * ArrowFlag, 9654);
                    u8g2_SetDrawColor(&u8g2, 0);
                    u8g2_DrawBox(&u8g2, 0, 12, 16, 16);
                    u8g2_SetDrawColor(&u8g2, 1);
                }
                else
                {
                    ArrowFlag--;
                    u8g2_DrawGlyph(&u8g2, 0, 25 + 12 * ArrowFlag, 9654);
                    u8g2_SetDrawColor(&u8g2, 0);
                    u8g2_DrawBox(&u8g2, 0, 12 + 12 * (ArrowFlag + 1), 16, 16);
                    u8g2_SetDrawColor(&u8g2, 1);
                }
                myPrintf("ArrowFlag = %d\r\n", ArrowFlag);
            }
            else if (KeyState[2] == 1) // 确认
            {
                if (ArrowFlag == 0)
                {
                    ResetState();
                    MenuMode = MENU_Record_View_SINGULAR;
                    MenuRecordViewSingular(0);
                }
                else if (ArrowFlag == 1)
                {
                    ResetState();
                    MenuMode = MENU_Record_View_PLURAL;
                    MenuRecordViewPlural();
                }
            }
            else if (KeyState[3] == 1) // 取消
            {
                // KeyState[3] = 0;
                // MenuMode = MENU_BASIC;
                // ArrowFlag = 0;
                ResetState();
            }

            u8g2_SendBuffer(&u8g2);
            break;

        case MENU_Record_View_SINGULAR:
            if (KeyState[1] == 1) // 按下�??
            {
                KeyState[1] = 0;

                u8g2_SetFont(&u8g2, u8g2_font_unifont_t_symbols);
                if (ArrowFlag >= 3)
                {
                    PageFlag++;
                    ArrowFlag = 0;
                    u8g2_DrawGlyph(&u8g2, 0, 25 + 12 * ArrowFlag, 9654);
                    u8g2_SetDrawColor(&u8g2, 0);
                    u8g2_DrawBox(&u8g2, 0, 12 + 12 * 3, 16, 16);
                    u8g2_SetDrawColor(&u8g2, 1);
                    MenuRecordViewSingular(PageFlag);
                }
                else
                {
                    ArrowFlag++;
                    u8g2_DrawGlyph(&u8g2, 0, 25 + 12 * ArrowFlag, 9654);
                    u8g2_SetDrawColor(&u8g2, 0);
                    u8g2_DrawBox(&u8g2, 0, 12 + 12 * (ArrowFlag - 1), 16, 16);
                    u8g2_SetDrawColor(&u8g2, 1);
                }
                myPrintf("ArrowFlag = %d\r\n", ArrowFlag);
            }
            else if (KeyState[0] == 1) // 按上�??
            {
                KeyState[0] = 0;

                u8g2_SetFont(&u8g2, u8g2_font_unifont_t_symbols);
                if (ArrowFlag <= 0)
                {
                    ArrowFlag = 3;
                    if (PageFlag > 0)
                    {
                        PageFlag--;
                    }
                    u8g2_DrawGlyph(&u8g2, 0, 25 + 12 * ArrowFlag, 9654);
                    u8g2_SetDrawColor(&u8g2, 0);
                    u8g2_DrawBox(&u8g2, 0, 12, 16, 16);
                    u8g2_SetDrawColor(&u8g2, 1);
                    MenuRecordViewSingular(PageFlag);
                }
                else
                {
                    ArrowFlag--;
                    u8g2_DrawGlyph(&u8g2, 0, 25 + 12 * ArrowFlag, 9654);
                    u8g2_SetDrawColor(&u8g2, 0);
                    u8g2_DrawBox(&u8g2, 0, 12 + 12 * (ArrowFlag + 1), 16, 16);
                    u8g2_SetDrawColor(&u8g2, 1);
                }
                myPrintf("ArrowFlag = %d\r\n", ArrowFlag);
            }
            else if (KeyState[2] == 1) // 确认
            {
                KeyState[2] = 0;
                FIL file;
                int res;

                u8g2_ClearDisplay(&u8g2);
                u8g2_SetFont(&u8g2, IR_Air32_font_12);
                u8g2_DrawUTF8(&u8g2, (128 - 12 * 6) / 2, 12, "是否确认删除");
                u8g2_SendBuffer(&u8g2);

                while (KeyState[2] != 1 && KeyState[3] != 1)
                {
                    if (KeyState[2] == 1) // 确认
                    {
                        KeyState[2] = 0;
                        res = f_unlink((char *)SD_FileName.data[PageFlag * 4 + ArrowFlag]);
                        if (res != FR_OK)
                        {
                            myPrintf("delete file failed\r\n");
                            u8g2_ClearDisplay(&u8g2);
                            u8g2_SetFont(&u8g2, IR_Air32_font_12);
                            u8g2_DrawUTF8(&u8g2, (128 - 12 * 4) / 2, 12, "删除失败");
                            u8g2_SendBuffer(&u8g2);
                            HAL_Delay(500);
                            MenuSendSingular(0);
                            ResetState();
                            MenuMode = MENU_Record_View_SINGULAR;
                            MenuRecordViewSingular(0);
                            break;
                        }

                        u8g2_ClearDisplay(&u8g2);
                        u8g2_SetFont(&u8g2, IR_Air32_font_12);
                        u8g2_DrawUTF8(&u8g2, (128 - 12 * 4) / 2, 12, "删除成功");
                        u8g2_SendBuffer(&u8g2);
                        HAL_Delay(500);
                        MenuSendSingular(0);
                        ResetState();
                        MenuMode = MENU_Record_View_SINGULAR;
                        MenuRecordViewSingular(0);
                        break;
                    }
                    else if (KeyState[3] == 1) // 取消
                    {
                        KeyState[3] = 0;
                        MenuSendSingular(0);
                        ResetState();
                        MenuMode = MENU_Record_View_SINGULAR;
                        MenuRecordViewSingular(0);
                        break;
                    }
                }
            }
            else if (KeyState[3] == 1) // 取消
            {
                // KeyState[3] = 0;
                // MenuMode = MENU_BASIC;
                // ArrowFlag = 0;
                // PageFlag = 0;
                ResetState();
            }

            u8g2_SendBuffer(&u8g2);
            break;

        case MENU_Record_View_PLURAL:
            if (KeyState[2] == 1) // 确认
            {
                FIL file;
                int res;
                KeyState[2] = 0;
                for (size_t i = 0; i < SD_FileName.size; i++)
                {
                    res = f_unlink(SD_FileName.data[i]);
                    if (res != FR_OK)
                    {
                        myPrintf("delete file failed\r\n");
                        u8g2_ClearDisplay(&u8g2);
                        u8g2_SetFont(&u8g2, IR_Air32_font_12);
                        u8g2_DrawUTF8(&u8g2, (128 - 12 * 4) / 2, 12, "删除失败");
                        u8g2_SendBuffer(&u8g2);
                        HAL_Delay(500);
                        ResetState();
                        MenuMode = MENU_Record_View;
                        ArrowFlag = 0;
                        MenuRecordView();
                        break;
                    }
                }

                u8g2_ClearDisplay(&u8g2);
                u8g2_SetFont(&u8g2, IR_Air32_font_12);
                u8g2_DrawUTF8(&u8g2, (128 - 12 * 4) / 2, 12, "删除成功");
                u8g2_SendBuffer(&u8g2);
                HAL_Delay(500);
                ResetState();
                MenuMode = MENU_Record_View;
                ArrowFlag = 0;
                MenuRecordView();
                break;
            }
            else if (KeyState[3] == 1) // 取消
            {
                KeyState[3] = 0;
                MenuSendSingular(0);
                ResetState();
                MenuMode = MENU_Record_View;
                ArrowFlag = 0;
                MenuRecordView();
                break;
            }
            break;

        default:
            break;
        }
    }
    /* USER CODE END 3 */
}

void SystemClock_Config(void)
{
    RCC_OscInitTypeDef RCC_OscInitStruct = {0};
    RCC_ClkInitTypeDef RCC_ClkInitStruct = {0};
    RCC_PeriphCLKInitTypeDef PeriphClkInit = {0};

    /** Initializes the RCC Oscillators according to the specified parameters
     * in the RCC_OscInitTypeDef structure.
     */
    RCC_OscInitStruct.OscillatorType = RCC_OSCILLATORTYPE_HSE;
    RCC_OscInitStruct.HSEState = RCC_HSE_ON;
    RCC_OscInitStruct.HSEPredivValue = RCC_HSE_PREDIV_DIV1;
    RCC_OscInitStruct.HSIState = RCC_HSI_ON;
    RCC_OscInitStruct.PLL.PLLState = RCC_PLL_ON;
    RCC_OscInitStruct.PLL.PLLSource = RCC_PLLSOURCE_HSE;
    RCC_OscInitStruct.PLL.PLLMUL = RCC_PLL_MUL9;
    if (HAL_RCC_OscConfig(&RCC_OscInitStruct) != HAL_OK)
    {
        Error_Handler();
    }

    /** Initializes the CPU, AHB and APB buses clocks
     */
    RCC_ClkInitStruct.ClockType = RCC_CLOCKTYPE_HCLK | RCC_CLOCKTYPE_SYSCLK | RCC_CLOCKTYPE_PCLK1 | RCC_CLOCKTYPE_PCLK2;
    RCC_ClkInitStruct.SYSCLKSource = RCC_SYSCLKSOURCE_PLLCLK;
    RCC_ClkInitStruct.AHBCLKDivider = RCC_SYSCLK_DIV1;
    RCC_ClkInitStruct.APB1CLKDivider = RCC_HCLK_DIV2;
    RCC_ClkInitStruct.APB2CLKDivider = RCC_HCLK_DIV1;

    if (HAL_RCC_ClockConfig(&RCC_ClkInitStruct, FLASH_LATENCY_2) != HAL_OK)
    {
        Error_Handler();
    }
    PeriphClkInit.PeriphClockSelection = RCC_PERIPHCLK_ADC;
    PeriphClkInit.AdcClockSelection = RCC_ADCPCLK2_DIV6;
    if (HAL_RCCEx_PeriphCLKConfig(&PeriphClkInit) != HAL_OK)
    {
        Error_Handler();
    }
}

/**
 * @brief NVIC Configuration.
 * @retval None
 */
static void MX_NVIC_Init(void)
{
    /* TIM4_IRQn interrupt configuration */
    HAL_NVIC_SetPriority(TIM4_IRQn, 0, 0);
    HAL_NVIC_EnableIRQ(TIM4_IRQn);
}

/* USER CODE BEGIN 4 */
void myPrintf(const char *fmt, ...)
{
    char buf[256];
    va_list args;
    va_start(args, fmt);
    vsprintf(buf, fmt, args);
    va_end(args);
    HAL_UART_Transmit(&huart1, (uint8_t *)buf, strlen(buf), 0xFFFF);
}

/**
 * @brief 输入捕获回调函数
 *
 * @param htim
 */
void HAL_TIM_IC_CaptureCallback(TIM_HandleTypeDef *htim)
{
    if (htim->Instance == TIM4)
    {
        IRCaptureCallback();
    }
}

/**
 * @brief 定时器溢出回调函�???????????
 *
 * @param htim
 */
void HAL_TIM_PeriodElapsedCallback(TIM_HandleTypeDef *htim)
{
    if (htim->Instance == TIM4)
    {
        IRPeriodElapsedCallback();
    }
    else if (htim->Instance == TIM3)
    {
        ScanKeyboard();
    }
}

uint8_t u8g2_gpio_and_delay_stm32(U8X8_UNUSED u8x8_t *u8x8, U8X8_UNUSED uint8_t msg, U8X8_UNUSED uint8_t arg_int, U8X8_UNUSED void *arg_ptr)
{
    switch (msg)
    {

    case U8X8_MSG_GPIO_AND_DELAY_INIT:
        break;

    case U8X8_MSG_DELAY_MILLI:
        HAL_Delay(arg_int);
        break;

    case U8X8_MSG_GPIO_I2C_CLOCK:
        break;

    case U8X8_MSG_GPIO_I2C_DATA:
        break;

    default:
        return 0;
    }
    return 1; // command processed successfully.
}

uint8_t u8x8_byte_hw_i2c(u8x8_t *u8x8, uint8_t msg, uint8_t arg_int, void *arg_ptr)
{
    static uint8_t buffer[32]; /* u8g2/u8x8 will never send more than 32 bytes between START_TRANSFER and END_TRANSFER */
    static uint8_t buf_idx;
    uint8_t *data;

    switch (msg)
    {

    case U8X8_MSG_BYTE_SEND:
        data = (uint8_t *)arg_ptr;
        while (arg_int > 0)
        {
            buffer[buf_idx++] = *data;
            data++;
            arg_int--;
        }
        break;

    case U8X8_MSG_BYTE_INIT:
        /* add your custom code to init i2c subsystem */
        break;

    case U8X8_MSG_BYTE_START_TRANSFER:
        buf_idx = 0;
        break;

    case U8X8_MSG_BYTE_END_TRANSFER:
        HAL_I2C_Master_Transmit(&hi2c1, u8x8_GetI2CAddress(u8x8), buffer, buf_idx, 1000);
        break;

    default:
        return 0;
    }
    return 1;
}

void ShowStartScreen(void)
{
    u8g2_ClearDisplay(&u8g2);
    u8g2_SetFont(&u8g2, IR_Air32_font_16);
    u8g2_DrawUTF8(&u8g2, (128 - 16 * 4) / 2, 12, "遥控管家");

    u8g2_SetFont(&u8g2, u8g2_font_wqy16_t_chinese1);
    u8g2_DrawUTF8(&u8g2, (128 - 6 * 11) / 2, 28, "Loading...");

    u8g2_SetFont(&u8g2, IR_Air32_font_12);
    u8g2_DrawUTF8(&u8g2, (128 - 12 * 9) / 2, 40, "若长时间未加载完成");
    u8g2_DrawUTF8(&u8g2, (128 - 12 * 11) / 2, 52, "请检查SD卡是否正确插入");
    u8g2_SendBuffer(&u8g2);
}

/**
 * @brief 扫描按键�????1ms进入�????次中断，如果有按下，那么5ms之后再次�????查，如果还是按下，那么就认为是按下了，否则就是抖动，并把状�?�存入按键缓冲区
 *
 */
void ScanKeyboard(void)
{
    static uint8_t keyCount[4] = {0};

    GPIO_TypeDef *keyPort[4] = {UP_GPIO_Port, DOWN_GPIO_Port, FORWARD_GPIO_Port, BACK_GPIO_Port};
    uint16_t keyPin[4] = {UP_Pin, DOWN_Pin, FORWARD_Pin, BACK_Pin};

    for (size_t i = 0; i < 4; i++)
    {
        if (HAL_GPIO_ReadPin(keyPort[i], keyPin[i]) == GPIO_PIN_SET) // 高电平有�????
        {
            keyCount[i]++;
            if (keyCount[i] > 5)
            {
                keyCount[i] = 0;
                KeyState[i] = 1;

                HAL_TIM_Base_Stop_IT(&htim3);
                while (HAL_GPIO_ReadPin(keyPort[i], keyPin[i]) == GPIO_PIN_SET)
                    ;
                HAL_TIM_Base_Start_IT(&htim3);
            }
        }
        else
        {
            keyCount[i] = 0;
        }
    }
}

void ResetKeyboard(void)
{
    for (size_t i = 0; i < 4; i++)
    {
        KeyState[i] = 0;
    }
}

void ResetState(void)
{
    ResetKeyboard();
    ArrowFlag = 0;
    MenuMode = MENU_BASIC;
}

/* USER CODE END 4 */

void Error_Handler(void)
{
    __disable_irq();
    while (1)
    {
    }
}

#ifdef USE_FULL_ASSERT
/**
 * @brief  Reports the name of the source file and the source line number
 *         where the assert_param error has occurred.
 * @param  file: pointer to the source file name
 * @param  line: assert_param error line source number
 * @retval None
 */
void assert_failed(uint8_t *file, uint32_t line)
{
    /* USER CODE BEGIN 6 */
    /* User can add his own implementation to report the file name and line number,
       ex: myPrintf("Wrong parameters value: file %s on line %d\r\n", file, line) */
    /* USER CODE END 6 */
}
#endif /* USE_FULL_ASSERT */
